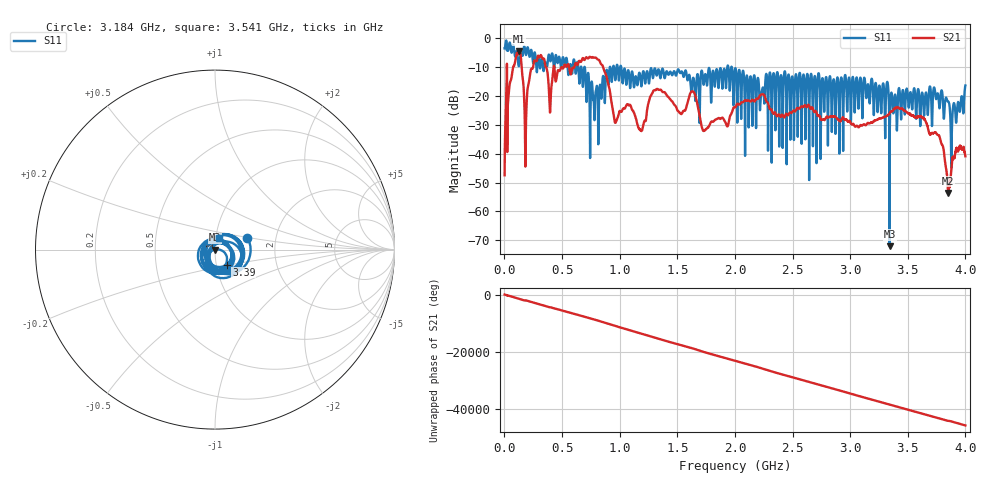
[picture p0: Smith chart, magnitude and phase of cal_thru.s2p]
!Created with skrf (http://scikit-rf.org).
# GHz S RI R 50.0
!freq ReS11 ImS11 ReS21 ImS21 ReS12 ImS12 ReS22 ImS22
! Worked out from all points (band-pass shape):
!   4000 points, 1 MHz to 4 GHz, reference 50 ohm
!   highest |S21| = -4.55 dB at 126 MHz (marker M1); lowest = -53.6 dB at 3.85 GHz (marker M2)
!   |S21| within 3 dB of the highest: 282.5 MHz to 346.3 MHz (63.72 MHz wide, 20.3 % of centre); 694.9 MHz to 820.1 MHz (125.2 MHz wide, 16.5 % of centre) (the widest 2 of 4)
!   lowest |S11| = -72.0 dB at 3.342 GHz (marker M3), VSWR 1.00, Z = 50 + j0.00366 ohm
!   |S11| at or under -10 dB: 696.3 MHz to 914.6 MHz (218.3 MHz wide, 27.1 % of centre); 1.013 GHz to 1.934 GHz (921.3 MHz wide, 62.5 % of centre); 1.972 GHz to end of sweep (the widest 3 of 17)
!   S12 and S22 are empty: the file has one direction only
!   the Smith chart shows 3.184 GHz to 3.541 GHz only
!   S11 on the Smith chart (normalised r, x): 3.184 GHz: 1.43, +0.20; 3.39 GHz: 1.12, -0.19; 3.541 GHz: 1.04, +0.13
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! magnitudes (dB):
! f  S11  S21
! 1 MHz  -3.6  -47.5
! 32 MHz  -4.3  -21.4
! 126 MHz  -9.6  -4.5
! 185 MHz  -5.7  -31.9
! 302 MHz  -8.3  -6.7
! 397 MHz  -7.9  -24.9
! 668 MHz  -10.2  -7.9
! 798 MHz  -17.1  -6.9
! 1.178 GHz  -13.3  -31.7
! 1.334 GHz  -10.9  -17.8
! 1.638 GHz  -13.7  -18.5
! 1.734 GHz  -14.5  -31.9
! 2.001 GHz  -10.5  -23.9
! 2.667 GHz  -13.9  -24.0
! 3.184 GHz  -14.3  -29.2
! 3.334 GHz  -20.1  -26.5
! 3.342 GHz  -72.0  -26.0
! 3.39 GHz  -19.5  -24.2
! 3.541 GHz  -23.6  -26.8
! 3.766 GHz  -20.4  -33.5
! 3.85 GHz  -21.9  -53.6
! 4 GHz  -16.4  -40.9
